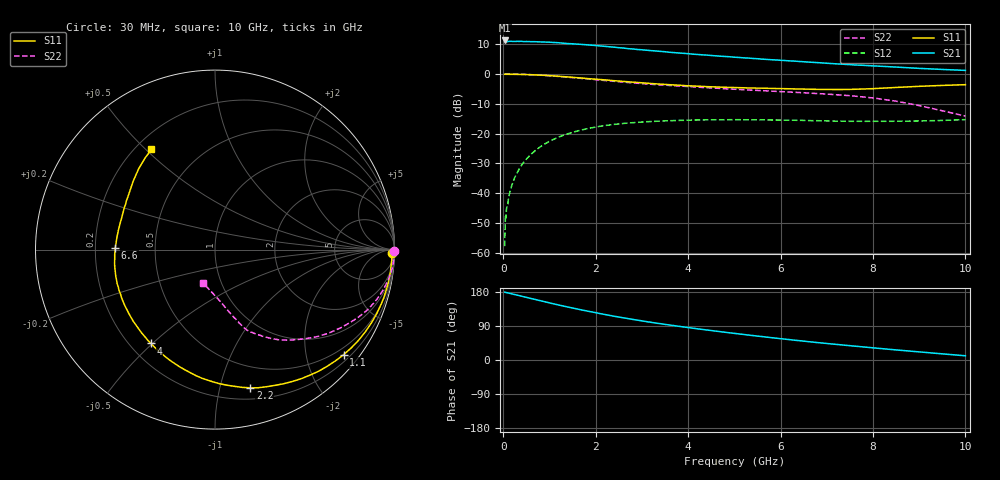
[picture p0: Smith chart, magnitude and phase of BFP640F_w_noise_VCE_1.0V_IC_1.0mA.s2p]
! Infineon Technologies  Discrete & RF Semiconductors
! BFP640F
! VCE =  1.0 V,  IC =  1.0 mA
! Common Emitter S-Parameters:  Apr 2013
# GHz  S  MA  R  50
!  f  S11  S21  S12  S22
! GHz  MAG  ANG  MAG  ANG  MAG  ANG  MAG  ANG
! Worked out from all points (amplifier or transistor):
!   99 points, 30 MHz to 10 GHz, reference 50 ohm
!   highest |S21| = 11.2 dB at 30 MHz (marker M1)
!   |S21| within 3 dB of that: start of sweep to 2.891 GHz
!   unconditionally stable (mu >= 1): 6.609 GHz to end of sweep
!   at 350 MHz: K = -0.01, MSG = 21.3 dB, |S12| = -31.7 dB
!   at 3.5 GHz: K = 0.51, MSG = 11.6 dB, |S12| = -15.7 dB
!   at 10 GHz: K = 1.35, MAG = 4.7 dB, |S12| = -15.3 dB
!   lowest NFmin = 0.52 dB at 450 MHz
!   S11 on the Smith chart (normalised r, x): 30 MHz: 55, -72; 1.1 GHz: 0.34, -2.76; 2.2 GHz: 0.30, -1.24; 4 GHz: 0.28, -0.49; 6.6 GHz: 0.29, +0.01; 10 GHz: 0.26, +0.52
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0.03  0.9867 -1.0  3.638 179.1  0.0013 82.6  1 -0.6
0.04  0.987 -1.4  3.45 178.8  0.0024 87.9  0.9993 -0.8
0.05  0.9891 -1.8  3.467 178.8  0.0044 89.5  1 -1.0
0.06  0.9856 -2.1  3.463 178.1  0.0039 86.4  0.9983 -1.2
0.07  0.9866 -2.5  3.476 177.9  0.0055 86.3  0.9999 -1.5
0.1  0.987 -3.6  3.478 177.1  0.0066 94.1  0.9979 -2.0
0.15  0.985 -5.4  3.524 175.7  0.0111 88.7  0.9972 -3.0
0.25  0.9835 -8.9  3.508 172.7  0.0185 85.1  0.9938 -5.0
0.4  0.979 -14.3  3.524 168.3  0.0298 82.7  0.9863 -7.9
0.6  0.9694 -21.5  3.472 162.3  0.045 78.6  0.9715 -11.7
1.1  0.9252 -39.3  3.363 147.9  0.0809 66.9  0.9192 -20.6
1.7  0.8518 -59.6  3.122 132.0  0.1153 53.8  0.8403 -30.0
2.2  0.7946 -75.7  2.902 120.0  0.1366 44.2  0.7765 -37.3
2.8  0.7289 -93.1  2.619 107.2  0.1525 34.9  0.7082 -44.4
3.4  0.6742 -109.2  2.388 95.8  0.1621 27.5  0.6553 -50.3
4  0.6327 -124.3  2.186 85.6  0.168 21.5  0.6162 -54.7
5.1  0.5887 -150.2  1.887 68.8  0.171 13.1  0.5495 -61.4
5.9  0.5695 -167.1  1.715 57.7  0.1689 8.9  0.5106 -65.4
6.6  0.5556 178.8  1.58 48.5  0.1657 6.4  0.4783 -68.6
6.7  0.5526 176.5  1.565 47.2  0.1648 6.1  0.4735 -68.9
8.5  0.5935 140.3  1.303 26.6  0.161 6.1  0.3496 -77.8
10  0.6606 122.4  1.146 11.1  0.1716 8.0  0.1965 -110.5
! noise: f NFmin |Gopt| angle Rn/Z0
0.45  0.52  0.75  11  0.34
0.9  0.69  0.71  23  0.33
1.5  0.87  0.7  32  0.32
1.9  0.98  0.65  47  0.31
2.4  1.13  0.64  66  0.3
3.5  1.33  0.56  84  0.28
5.5  1.77  0.48  144  0.26
10  2.96  0.61  -113  0.48
